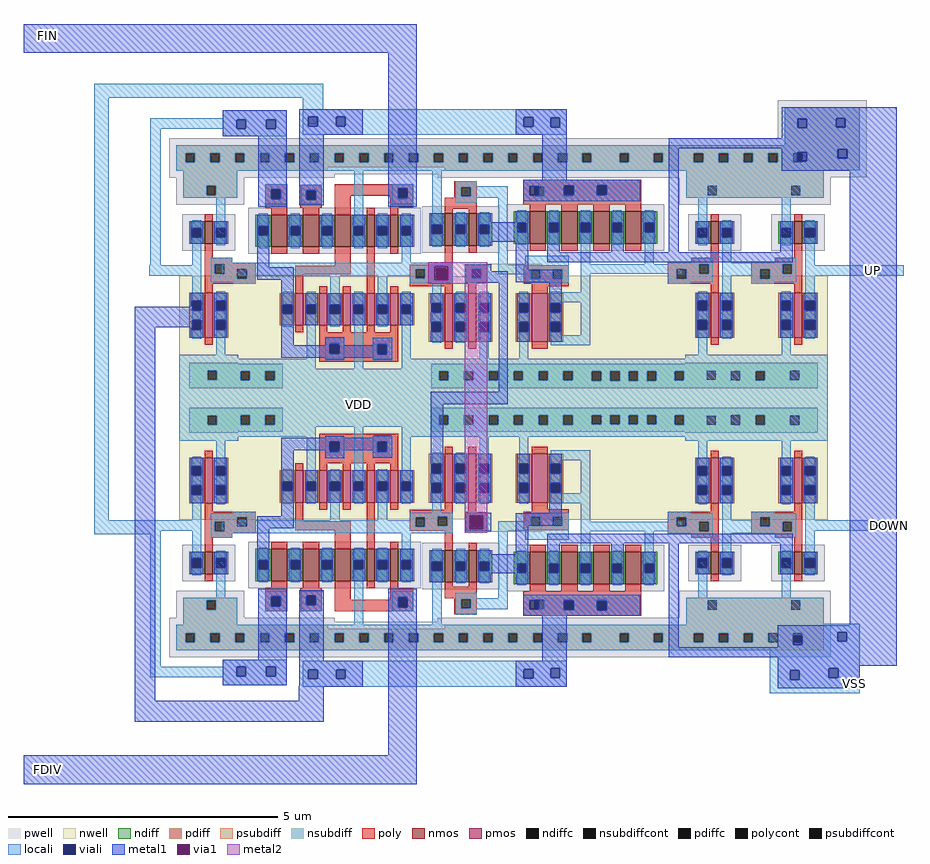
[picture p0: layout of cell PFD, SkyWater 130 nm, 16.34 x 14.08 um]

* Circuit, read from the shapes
.subckt PFD DOWN FDIV FIN UP VDD VSS
XM1 VSS PFD_UP_0/PFD_INV_0/IN PFD_UP_0/PFD_INV_0/OUT VSS sky130_fd_pr__nfet_01v8 w=0.42 l=0.15
XM2 VSS PFD_UP_1/PFD_INV_0/IN PFD_UP_1/PFD_INV_0/OUT VSS sky130_fd_pr__nfet_01v8 w=0.42 l=0.15
XM3 n1 PFD_UP_0/PFD_INV_0/OUT n2 VSS sky130_fd_pr__nfet_01v8 w=0.6 l=0.3
XM4 n3 PFD_UP_1/PFD_INV_0/OUT n4 VSS sky130_fd_pr__nfet_01v8 w=0.6 l=0.3
XM5 n5 PFD_UP_1/PFD_INV_0/OUT n1 VSS sky130_fd_pr__nfet_01v8 w=0.6 l=0.3
XM6 n6 PFD_UP_0/PFD_INV_0/OUT n3 VSS sky130_fd_pr__nfet_01v8 w=0.6 l=0.3
XM7 VSS FDIV n5 VSS sky130_fd_pr__nfet_01v8 w=0.6 l=0.3
XM8 VSS FIN n6 VSS sky130_fd_pr__nfet_01v8 w=0.6 l=0.3
XM9 n7 n2 VSS VSS sky130_fd_pr__nfet_01v8 w=0.6 l=0.15
XM10 n8 n4 VSS VSS sky130_fd_pr__nfet_01v8 w=0.6 l=0.15
XM11 PFD_UP_0/PFD_INV_0/IN FDIV n7 VSS sky130_fd_pr__nfet_01v8 w=0.6 l=0.15
XM12 PFD_UP_1/PFD_INV_0/IN FIN n8 VSS sky130_fd_pr__nfet_01v8 w=0.6 l=0.15
XM13 n9 PFD_UP_0/PFD_INV_0/IN VSS VSS sky130_fd_pr__nfet_01v8 w=0.6 l=0.15
XM14 n10 PFD_UP_1/PFD_INV_0/IN VSS VSS sky130_fd_pr__nfet_01v8 w=0.6 l=0.15
XM15 PFD_UP_0/PFD_INV_2/IN PFD_UP_0/PFD_INV_0/IN n9 VSS sky130_fd_pr__nfet_01v8 w=0.6 l=0.15
XM16 PFD_UP_1/PFD_INV_2/IN PFD_UP_1/PFD_INV_0/IN n10 VSS sky130_fd_pr__nfet_01v8 w=0.6 l=0.15
XM17 VSS PFD_UP_1/PFD_INV_0/OUT PFD_UP_0/PFD_INV_2/IN VSS sky130_fd_pr__nfet_01v8 w=0.6 l=0.3 m=4
XM18 VSS PFD_UP_0/PFD_INV_0/OUT PFD_UP_1/PFD_INV_2/IN VSS sky130_fd_pr__nfet_01v8 w=0.6 l=0.3 m=4
XM19 PFD_UP_0/PFD_INV_1/IN PFD_UP_0/PFD_INV_2/IN VSS VSS sky130_fd_pr__nfet_01v8 w=0.42 l=0.15
XM20 PFD_UP_1/PFD_INV_1/IN PFD_UP_1/PFD_INV_2/IN VSS VSS sky130_fd_pr__nfet_01v8 w=0.42 l=0.15
XM21 DOWN PFD_UP_0/PFD_INV_1/IN VSS VSS sky130_fd_pr__nfet_01v8 w=0.42 l=0.15
XM22 UP PFD_UP_1/PFD_INV_1/IN VSS VSS sky130_fd_pr__nfet_01v8 w=0.42 l=0.15
XM23 VDD PFD_UP_0/PFD_INV_0/IN PFD_UP_0/PFD_INV_0/OUT VDD sky130_fd_pr__pfet_01v8 w=0.84 l=0.15
XM24 VDD PFD_UP_1/PFD_INV_0/IN PFD_UP_1/PFD_INV_0/OUT VDD sky130_fd_pr__pfet_01v8 w=0.84 l=0.15
XM25 VDD FDIV n2 VDD sky130_fd_pr__pfet_01v8 w=0.6 l=0.15
XM26 VDD FIN n4 VDD sky130_fd_pr__pfet_01v8 w=0.6 l=0.15
XM27 PFD_UP_0/PFD_INV_0/IN n2 VDD VDD sky130_fd_pr__pfet_01v8 w=0.6 l=0.15 m=4
XM28 PFD_UP_1/PFD_INV_0/IN n4 VDD VDD sky130_fd_pr__pfet_01v8 w=0.6 l=0.15 m=4
XM29 n11 PFD_UP_0/PFD_INV_0/IN PFD_UP_0/PFD_INV_0/IN VDD sky130_fd_pr__pfet_01v8 w=0.9 l=0.15
XM30 n12 PFD_UP_1/PFD_INV_0/IN PFD_UP_1/PFD_INV_0/IN VDD sky130_fd_pr__pfet_01v8 w=0.9 l=0.15
XM31 VDD PFD_UP_1/PFD_INV_0/IN n11 VDD sky130_fd_pr__pfet_01v8 w=0.9 l=0.15
XM32 VDD PFD_UP_0/PFD_INV_0/IN n12 VDD sky130_fd_pr__pfet_01v8 w=0.9 l=0.15
XM33 PFD_UP_0/PFD_INV_2/IN PFD_UP_0/PFD_INV_0/IN VDD VDD sky130_fd_pr__pfet_01v8 w=0.9 l=0.3
XM34 PFD_UP_1/PFD_INV_2/IN PFD_UP_1/PFD_INV_0/IN VDD VDD sky130_fd_pr__pfet_01v8 w=0.9 l=0.3
XM35 PFD_UP_0/PFD_INV_1/IN PFD_UP_0/PFD_INV_2/IN VDD VDD sky130_fd_pr__pfet_01v8 w=0.84 l=0.15
XM36 PFD_UP_1/PFD_INV_1/IN PFD_UP_1/PFD_INV_2/IN VDD VDD sky130_fd_pr__pfet_01v8 w=0.84 l=0.15
XM37 DOWN PFD_UP_0/PFD_INV_1/IN VDD VDD sky130_fd_pr__pfet_01v8 w=0.84 l=0.15
XM38 UP PFD_UP_1/PFD_INV_1/IN VDD VDD sky130_fd_pr__pfet_01v8 w=0.84 l=0.15
.ends

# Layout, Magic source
magic
tech sky130A
magscale 1 2
<< nwell >>
rect 1193 1383 1220 1391
<< pwell >>
rect 2254 1774 2585 2060
<< psubdiff >>
rect 2280 1800 2559 2034
<< locali >>
rect -278 2068 571 2121
rect -278 504 -225 2068
rect 494 2027 571 2068
rect 507 1971 546 2027
rect 2280 1993 2559 2034
rect 2280 1991 2471 1993
rect 2280 1957 2328 1991
rect 2362 1959 2471 1991
rect 2505 1959 2559 1993
rect 2362 1957 2559 1959
rect 2280 1878 2559 1957
rect 2280 1867 2477 1878
rect 2280 1833 2327 1867
rect 2361 1844 2477 1867
rect 2511 1844 2559 1878
rect 2361 1833 2559 1844
rect 2280 1800 2559 1833
rect 978 1436 1038 1449
rect 978 1402 991 1436
rect 1025 1402 1038 1436
rect 2463 1410 2721 1449
rect 978 1390 1038 1402
rect 407 849 895 1065
rect -278 465 6 504
rect 2476 465 2730 504
rect -278 451 -54 465
rect 2245 119 2415 121
rect 2224 89 2559 119
rect 2224 76 2476 89
rect 2224 42 2311 76
rect 2345 55 2476 76
rect 2510 55 2559 89
rect 2345 42 2559 55
rect 2224 -46 2559 42
rect 2224 -53 2444 -46
rect 2224 -87 2300 -53
rect 2334 -80 2444 -53
rect 2478 -80 2559 -46
rect 2334 -87 2559 -80
rect 2224 -138 2559 -87
<< viali >>
rect 2328 1957 2362 1991
rect 2471 1959 2505 1993
rect 2327 1833 2361 1867
rect 2477 1844 2511 1878
rect 991 1402 1025 1436
rect 2311 42 2345 76
rect 2476 55 2510 89
rect 2300 -87 2334 -53
rect 2444 -80 2478 -46
<< metal1 >>
rect -539 2236 917 2342
rect 811 1961 917 2236
rect 2269 1993 2695 2034
rect 2269 1991 2471 1993
rect 2269 1957 2328 1991
rect 2362 1959 2471 1991
rect 2505 1959 2695 1993
rect 2362 1957 2695 1959
rect 2269 1878 2695 1957
rect 2269 1867 2477 1878
rect 2269 1833 2327 1867
rect 2361 1844 2477 1867
rect 2511 1844 2695 1878
rect 2361 1833 2695 1844
rect 2269 1798 2695 1833
rect 959 1445 1050 1459
rect 959 1393 982 1445
rect 1034 1393 1050 1445
rect 959 1380 1050 1393
rect 1159 1391 1254 1425
rect 1193 1383 1254 1391
rect -129 1218 89 1295
rect -129 -166 -52 1218
rect 1220 979 1254 1383
rect 968 933 1254 979
rect 968 738 1014 933
rect 1098 522 1178 526
rect 1098 470 1112 522
rect 1164 470 1178 522
rect 1098 467 1178 470
rect 2521 115 2695 1798
rect 2254 89 2695 115
rect 2254 76 2476 89
rect 480 -166 572 -112
rect -129 -243 572 -166
rect 811 -368 917 44
rect 2254 42 2311 76
rect 2345 55 2476 76
rect 2510 55 2695 89
rect 2345 42 2695 55
rect 2254 -35 2695 42
rect 2254 -46 2559 -35
rect 2254 -53 2444 -46
rect 2254 -87 2300 -53
rect 2334 -80 2444 -53
rect 2478 -80 2559 -46
rect 2334 -87 2559 -80
rect 2254 -119 2559 -87
rect -539 -474 917 -368
<< via1 >>
rect 982 1436 1034 1445
rect 982 1402 991 1436
rect 991 1402 1025 1436
rect 1025 1402 1034 1436
rect 982 1393 1034 1402
rect 1112 470 1164 522
<< metal2 >>
rect 959 1445 1178 1459
rect 959 1393 982 1445
rect 1034 1393 1178 1445
rect 959 1380 1178 1393
rect 1095 522 1178 1380
rect 1095 470 1112 522
rect 1164 470 1178 522
rect 1095 457 1178 470
use PFD_UP  PFD_UP_0
transform 1 0 373 0 1 457
box -479 -610 2335 500
use PFD_UP  PFD_UP_1
transform 1 0 373 0 -1 1457
box -479 -610 2335 500
<< labels >>
flabel metal1 s -450 2298 -450 2298 0 FreeSans 800 0 0 0 FIN
flabel metal1 s -450 -421 -450 -421 0 FreeSans 800 0 0 0 FDIV
flabel locali s 2605 1430 2605 1430 0 FreeSans 800 0 0 0 UP
flabel locali s 2668 482 2668 482 0 FreeSans 800 0 0 0 DOWN
flabel metal1 s 2539 -101 2539 -101 0 FreeSans 800 0 0 0 VSS
flabel locali s 702 931 702 931 0 FreeSans 800 0 0 0 VDD
<< end >>

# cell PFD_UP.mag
magic
tech sky130A
magscale 1 2
<< nwell >>
rect -336 464 1539 500
rect 1757 464 1848 500
rect -336 371 1712 464
rect -336 369 1576 371
rect 1720 370 1886 464
rect -336 294 1539 369
rect -336 83 0 294
rect 136 236 170 294
rect 182 291 477 294
rect 204 276 476 291
rect 211 269 476 276
rect 212 258 476 269
rect 312 236 346 258
rect 488 221 554 294
rect 488 220 522 221
rect -336 48 -231 83
rect -119 48 0 83
rect 595 81 657 86
rect 859 80 880 294
rect 1041 269 1539 294
rect 1107 146 1539 269
rect 1041 109 1101 146
rect 1106 109 1539 146
rect 969 86 1029 87
rect 765 79 888 80
rect 946 79 1029 86
rect 765 76 1029 79
rect 804 75 1029 76
rect 804 74 1008 75
rect 1025 74 1029 75
rect 1101 74 1106 87
rect 741 59 789 68
rect 804 62 1029 74
rect 1107 67 1539 109
rect 1107 62 1655 67
rect 804 48 1655 62
rect 1757 48 1848 370
rect 804 4 1008 48
<< pwell >>
rect -348 -315 -95 -294
rect 1516 -315 2078 -215
rect -374 -329 240 -315
rect 622 -329 2078 -315
rect -374 -462 2078 -329
<< psubdiff >>
rect -322 -341 -121 -320
rect 1542 -341 2052 -241
rect -348 -355 214 -341
rect 648 -355 2052 -341
rect -348 -372 2052 -355
rect -348 -406 -313 -372
rect -279 -406 -221 -372
rect -187 -406 -129 -372
rect -95 -406 -37 -372
rect -3 -406 55 -372
rect 89 -406 147 -372
rect 181 -406 239 -372
rect 273 -406 331 -372
rect 365 -406 423 -372
rect 457 -406 515 -372
rect 549 -406 607 -372
rect 641 -406 699 -372
rect 733 -406 791 -372
rect 825 -406 883 -372
rect 917 -406 975 -372
rect 1009 -406 1067 -372
rect 1101 -406 1157 -372
rect 1191 -406 1295 -372
rect 1329 -406 1422 -372
rect 1456 -406 1571 -372
rect 1605 -406 1663 -372
rect 1697 -406 1755 -372
rect 1789 -406 1847 -372
rect 1881 -406 1939 -372
rect 1973 -406 2052 -372
rect -348 -436 2052 -406
<< nsubdiff >>
rect -155 435 47 464
rect -155 401 -109 435
rect -75 401 -17 435
rect 17 401 47 435
rect -155 374 47 401
rect 597 441 1712 464
rect 1720 441 1886 464
rect 597 436 1886 441
rect 597 435 1193 436
rect 597 401 627 435
rect 661 401 719 435
rect 753 401 811 435
rect 845 401 903 435
rect 937 401 995 435
rect 1029 401 1087 435
rect 1121 402 1193 435
rect 1227 402 1261 436
rect 1295 402 1329 436
rect 1363 402 1397 436
rect 1431 435 1886 436
rect 1431 402 1499 435
rect 1121 401 1499 402
rect 1533 401 1707 435
rect 1741 401 1799 435
rect 1833 401 1886 435
rect 597 395 1886 401
rect 597 374 1712 395
rect -155 370 -119 374
rect 1539 371 1712 374
rect 1539 370 1576 371
rect 1720 370 1886 395
<< psubdiffcont >>
rect -313 -406 -279 -372
rect -221 -406 -187 -372
rect -129 -406 -95 -372
rect -37 -406 -3 -372
rect 55 -406 89 -372
rect 147 -406 181 -372
rect 239 -406 273 -372
rect 331 -406 365 -372
rect 423 -406 457 -372
rect 515 -406 549 -372
rect 607 -406 641 -372
rect 699 -406 733 -372
rect 791 -406 825 -372
rect 883 -406 917 -372
rect 975 -406 1009 -372
rect 1067 -406 1101 -372
rect 1157 -406 1191 -372
rect 1295 -406 1329 -372
rect 1422 -406 1456 -372
rect 1571 -406 1605 -372
rect 1663 -406 1697 -372
rect 1755 -406 1789 -372
rect 1847 -406 1881 -372
rect 1939 -406 1973 -372
<< nsubdiffcont >>
rect -109 401 -75 435
rect -17 401 17 435
rect 627 401 661 435
rect 719 401 753 435
rect 811 401 845 435
rect 903 401 937 435
rect 995 401 1029 435
rect 1087 401 1121 435
rect 1193 402 1227 436
rect 1261 402 1295 436
rect 1329 402 1363 436
rect 1397 402 1431 436
rect 1499 401 1533 435
rect 1707 401 1741 435
rect 1799 401 1833 435
<< poly >>
rect 182 333 476 367
rect 182 332 398 333
rect 182 298 221 332
rect 255 299 398 332
rect 432 299 476 333
rect 255 298 476 299
rect 182 258 476 298
rect 182 257 212 258
rect 657 86 677 96
rect 94 43 124 86
rect 94 10 300 43
rect 240 -33 300 10
rect 358 -33 388 86
rect 518 59 678 86
rect 735 78 765 87
rect 518 57 622 59
rect 518 23 540 57
rect 574 25 622 57
rect 656 25 678 59
rect 574 23 678 25
rect 518 7 678 23
rect 648 -39 678 7
rect 722 76 765 78
rect 969 77 1106 87
rect 722 56 804 76
rect 722 22 748 56
rect 782 22 804 56
rect 722 6 804 22
rect 941 59 1106 77
rect 941 25 968 59
rect 1002 25 1048 59
rect 1082 25 1106 59
rect 941 9 1106 25
rect -18 -235 64 -203
rect 446 -205 476 -204
rect -18 -269 5 -235
rect 39 -269 64 -235
rect -18 -291 64 -269
rect 112 -235 191 -205
rect 112 -269 135 -235
rect 169 -269 191 -235
rect 112 -290 191 -269
rect 240 -249 300 -205
rect 446 -238 531 -205
rect 446 -249 475 -238
rect 240 -272 475 -249
rect 509 -272 531 -238
rect 648 -242 766 -200
rect 240 -291 531 -272
rect 683 -246 766 -242
rect 683 -280 709 -246
rect 743 -280 766 -246
rect 683 -302 766 -280
rect 938 -248 1376 -217
rect 938 -282 981 -248
rect 1015 -249 1376 -248
rect 1015 -282 1088 -249
rect 938 -283 1088 -282
rect 1122 -250 1376 -249
rect 1122 -283 1210 -250
rect 938 -284 1210 -283
rect 1244 -284 1376 -250
rect 938 -307 1376 -284
<< polycont >>
rect 221 298 255 332
rect 398 299 432 333
rect 540 23 574 57
rect 622 25 656 59
rect 748 22 782 56
rect 968 25 1002 59
rect 1048 25 1082 59
rect 5 -269 39 -235
rect 135 -269 169 -235
rect 475 -272 509 -238
rect 709 -280 743 -246
rect 981 -282 1015 -248
rect 1088 -283 1122 -249
rect 1210 -284 1244 -250
<< locali >>
rect -118 488 1539 500
rect 1757 488 1848 500
rect -118 464 2047 488
rect -155 436 2047 464
rect -155 435 1193 436
rect -155 401 -109 435
rect -75 401 -17 435
rect 17 401 627 435
rect 661 401 719 435
rect 753 401 811 435
rect 845 401 903 435
rect 937 401 995 435
rect 1029 401 1087 435
rect 1121 402 1193 435
rect 1227 402 1261 436
rect 1295 402 1329 436
rect 1363 402 1397 436
rect 1431 435 2047 436
rect 1431 402 1499 435
rect 1121 401 1499 402
rect 1533 401 1707 435
rect 1741 401 1799 435
rect 1833 401 2047 435
rect -155 392 2047 401
rect -155 370 170 392
rect -118 355 170 370
rect 136 236 170 355
rect 204 337 276 357
rect 204 332 222 337
rect 204 298 221 332
rect 256 303 276 337
rect 255 298 276 303
rect 204 276 276 298
rect 312 236 346 392
rect 381 338 453 358
rect 381 333 399 338
rect 381 299 398 333
rect 433 304 453 338
rect 432 299 453 304
rect 381 277 453 299
rect 488 355 2047 392
rect 488 221 522 355
rect 777 296 811 355
rect 923 296 957 355
rect 1757 340 1848 355
rect 1041 269 1186 306
rect 1152 146 1186 269
rect 224 47 258 109
rect 400 47 434 110
rect 601 74 635 120
rect 1041 109 1186 146
rect 518 59 678 74
rect 518 57 622 59
rect 518 47 540 57
rect -448 8 -334 47
rect -177 23 540 47
rect 574 25 622 57
rect 656 25 678 59
rect 574 23 678 25
rect -444 -497 -405 8
rect -177 -1 678 23
rect 722 57 804 74
rect 722 22 748 57
rect 782 22 804 57
rect 945 59 1106 74
rect 945 42 968 59
rect 722 8 804 22
rect 846 25 968 42
rect 1002 25 1048 59
rect 1082 25 1106 59
rect 846 7 1106 25
rect 488 -56 522 -1
rect -18 -235 62 -217
rect -18 -238 5 -235
rect -18 -272 4 -238
rect 39 -269 62 -235
rect 38 -272 62 -269
rect -18 -291 62 -272
rect 113 -233 191 -217
rect 113 -235 136 -233
rect 113 -269 135 -235
rect 170 -267 191 -233
rect 169 -269 191 -267
rect 113 -290 191 -269
rect -322 -341 -121 -320
rect 312 -341 346 -183
rect 453 -238 531 -217
rect 453 -276 475 -238
rect 509 -276 531 -238
rect 453 -291 531 -276
rect 602 -341 636 -183
rect 687 -242 766 -223
rect 846 -242 881 7
rect 945 -26 1106 7
rect 1152 40 1186 109
rect 1152 6 1525 40
rect 2080 8 2335 47
rect 1152 -67 1186 6
rect 1388 -67 1422 6
rect 1708 -1 1810 8
rect 687 -246 881 -242
rect 687 -280 709 -246
rect 743 -280 881 -246
rect 687 -284 881 -280
rect 939 -248 1372 -229
rect 1587 -241 1621 -152
rect 1896 -241 1930 -160
rect 939 -250 981 -248
rect 1015 -249 1372 -248
rect 939 -284 962 -250
rect 1015 -282 1088 -249
rect 1122 -250 1372 -249
rect 1122 -252 1210 -250
rect 996 -283 1088 -282
rect 996 -284 1091 -283
rect 687 -303 766 -284
rect 939 -286 1091 -284
rect 1125 -284 1210 -252
rect 1244 -253 1372 -250
rect 1125 -286 1213 -284
rect 939 -287 1213 -286
rect 1247 -287 1372 -253
rect 939 -307 1372 -287
rect 1542 -341 2052 -241
rect -348 -372 2052 -341
rect -348 -406 -313 -372
rect -279 -406 -221 -372
rect -187 -406 -129 -372
rect -95 -406 -37 -372
rect -3 -406 55 -372
rect 89 -406 147 -372
rect 181 -406 239 -372
rect 273 -406 331 -372
rect 365 -406 423 -372
rect 457 -406 515 -372
rect 549 -406 607 -372
rect 641 -406 699 -372
rect 733 -406 791 -372
rect 825 -406 883 -372
rect 917 -406 975 -372
rect 1009 -406 1067 -372
rect 1101 -406 1157 -372
rect 1191 -406 1295 -372
rect 1329 -406 1422 -372
rect 1456 -406 1571 -372
rect 1605 -406 1663 -372
rect 1697 -406 1755 -372
rect 1789 -406 1847 -372
rect 1881 -406 1939 -372
rect 1973 -406 2052 -372
rect -348 -436 2052 -406
rect -175 -497 62 -470
rect -444 -531 -124 -497
rect -90 -531 -13 -497
rect 21 -531 62 -497
rect -444 -536 62 -531
rect -175 -566 62 -536
rect 121 -503 1099 -474
rect 121 -505 1040 -503
rect 121 -507 941 -505
rect 121 -541 142 -507
rect 176 -541 245 -507
rect 279 -539 941 -507
rect 975 -537 1040 -505
rect 1074 -537 1099 -503
rect 975 -539 1099 -537
rect 279 -541 1099 -539
rect 121 -570 1099 -541
<< viali >>
rect 222 332 256 337
rect 222 303 255 332
rect 255 303 256 332
rect 399 333 433 338
rect 399 304 432 333
rect 432 304 433 333
rect 748 56 782 57
rect 748 23 782 56
rect 4 -269 5 -238
rect 5 -269 38 -238
rect 4 -272 38 -269
rect 136 -235 170 -233
rect 136 -267 169 -235
rect 169 -267 170 -235
rect 475 -272 509 -242
rect 475 -276 509 -272
rect 962 -282 981 -250
rect 981 -282 996 -250
rect 962 -284 996 -282
rect 1091 -283 1122 -252
rect 1122 -283 1125 -252
rect 1091 -286 1125 -283
rect 1213 -284 1244 -253
rect 1244 -284 1247 -253
rect 1213 -287 1247 -284
rect -124 -531 -90 -497
rect -13 -531 21 -497
rect 142 -541 176 -507
rect 245 -541 279 -507
rect 941 -539 975 -505
rect 1040 -537 1074 -503
<< metal1 >>
rect 207 357 273 360
rect 384 358 450 361
rect 204 352 276 357
rect 381 352 453 358
rect 42 338 453 352
rect 42 337 399 338
rect 42 306 222 337
rect 42 231 88 306
rect 204 303 222 306
rect 256 306 399 337
rect 256 303 276 306
rect 204 276 276 303
rect 381 304 399 306
rect 433 304 453 338
rect 381 277 453 304
rect 42 62 88 113
rect -48 16 88 62
rect 725 57 820 74
rect 1035 72 1081 113
rect 725 23 748 57
rect 782 23 820 57
rect -48 -67 -2 16
rect 725 6 820 23
rect 910 26 1081 72
rect 910 -71 956 26
rect 1028 -39 1936 -3
rect 1028 -72 1074 -39
rect 1264 -71 1310 -39
rect 805 -103 919 -79
rect 805 -150 924 -103
rect -43 -238 62 -208
rect -43 -272 4 -238
rect 38 -272 62 -238
rect -43 -470 62 -272
rect -175 -497 62 -470
rect -175 -531 -124 -497
rect -90 -531 -13 -497
rect 21 -531 62 -497
rect -175 -566 62 -531
rect 108 -233 199 -214
rect 108 -267 136 -233
rect 170 -267 199 -233
rect 108 -474 199 -267
rect 438 -242 544 -208
rect 438 -276 475 -242
rect 509 -276 544 -242
rect 108 -507 344 -474
rect 108 -541 142 -507
rect 176 -541 245 -507
rect 279 -541 344 -507
rect 108 -570 344 -541
rect 438 -610 544 -276
rect 939 -250 1372 -229
rect 939 -284 962 -250
rect 996 -252 1372 -250
rect 996 -284 1091 -252
rect 939 -286 1091 -284
rect 1125 -253 1372 -252
rect 1125 -286 1213 -253
rect 939 -287 1213 -286
rect 1247 -287 1372 -253
rect 939 -307 1372 -287
rect 1008 -474 1099 -307
rect 1478 -425 1514 -39
rect 1890 -70 1936 -39
rect 1478 -461 1929 -425
rect 910 -503 1099 -474
rect 910 -505 1040 -503
rect 910 -539 941 -505
rect 975 -537 1040 -505
rect 1074 -537 1099 -503
rect 975 -539 1099 -537
rect 910 -570 1099 -539
use PFD_INV  PFD_INV_0
transform -1 0 -118 0 1 48
box -65 -394 271 452
use PFD_INV  PFD_INV_1
transform 1 0 1848 0 1 48
box -65 -394 271 452
use PFD_INV  PFD_INV_2
transform 1 0 1539 0 1 48
box -65 -394 271 452
use sky130_fd_pr__nfet_01v8_FB3UY2  sky130_fd_pr__nfet_01v8_FB3UY2_0
transform 1 0 461 0 1 -119
box -99 -86 99 86
use sky130_fd_pr__nfet_01v8_FB3UY2  sky130_fd_pr__nfet_01v8_FB3UY2_1
transform 1 0 373 0 1 -119
box -99 -86 99 86
use sky130_fd_pr__nfet_01v8_FB3UY2  sky130_fd_pr__nfet_01v8_FB3UY2_2
transform 1 0 751 0 1 -124
box -99 -86 99 86
use sky130_fd_pr__nfet_01v8_FB3UY2  sky130_fd_pr__nfet_01v8_FB3UY2_3
transform 1 0 663 0 1 -124
box -99 -86 99 86
use sky130_fd_pr__nfet_01v8_R2UA5N  sky130_fd_pr__nfet_01v8_R2UA5N_0
transform 1 0 270 0 1 -119
box -114 -86 114 86
use sky130_fd_pr__nfet_01v8_R2UA5N  sky130_fd_pr__nfet_01v8_R2UA5N_1
transform 1 0 34 0 1 -119
box -114 -86 114 86
use sky130_fd_pr__nfet_01v8_R2UA5N  sky130_fd_pr__nfet_01v8_R2UA5N_2
transform 1 0 152 0 1 -119
box -114 -86 114 86
use sky130_fd_pr__nfet_01v8_R2UA5N  sky130_fd_pr__nfet_01v8_R2UA5N_3
transform 1 0 1110 0 1 -131
box -114 -86 114 86
use sky130_fd_pr__nfet_01v8_R2UA5N  sky130_fd_pr__nfet_01v8_R2UA5N_4
transform 1 0 992 0 1 -131
box -114 -86 114 86
use sky130_fd_pr__nfet_01v8_R2UA5N  sky130_fd_pr__nfet_01v8_R2UA5N_5
transform 1 0 1228 0 1 -131
box -114 -86 114 86
use sky130_fd_pr__nfet_01v8_R2UA5N  sky130_fd_pr__nfet_01v8_R2UA5N_6
transform 1 0 1346 0 1 -131
box -114 -86 114 86
use sky130_fd_pr__pfet_01v8_5AY9XA  sky130_fd_pr__pfet_01v8_5AY9XA_1
transform 1 0 662 0 1 202
box -109 -152 109 152
use sky130_fd_pr__pfet_01v8_5AY9XA  sky130_fd_pr__pfet_01v8_5AY9XA_2
transform 1 0 750 0 1 202
box -109 -152 109 152
use sky130_fd_pr__pfet_01v8_58P8XA  sky130_fd_pr__pfet_01v8_58P8XA_1
transform 1 0 109 0 1 172
box -109 -122 109 122
use sky130_fd_pr__pfet_01v8_58P8XA  sky130_fd_pr__pfet_01v8_58P8XA_2
transform 1 0 197 0 1 172
box -109 -122 109 122
use sky130_fd_pr__pfet_01v8_58P8XA  sky130_fd_pr__pfet_01v8_58P8XA_3
transform 1 0 285 0 1 172
box -109 -122 109 122
use sky130_fd_pr__pfet_01v8_58P8XA  sky130_fd_pr__pfet_01v8_58P8XA_4
transform 1 0 373 0 1 172
box -109 -122 109 122
use sky130_fd_pr__pfet_01v8_58P8XA  sky130_fd_pr__pfet_01v8_58P8XA_5
transform 1 0 461 0 1 172
box -109 -122 109 122
use sky130_fd_pr__pfet_01v8_EP25JC  sky130_fd_pr__pfet_01v8_EP25JC_0
transform 1 0 999 0 1 202
box -124 -152 124 152
<< end >>

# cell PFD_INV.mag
magic
tech sky130A
magscale 1 2
<< nwell >>
rect 0 292 218 452
<< pwell >>
rect -23 -394 230 -263
<< psubdiff >>
rect 3 -299 204 -289
rect 3 -333 83 -299
rect 117 -333 204 -299
rect 3 -368 204 -333
<< nsubdiff >>
rect 37 386 181 416
rect 37 352 79 386
rect 113 352 181 386
rect 37 322 181 352
<< psubdiffcont >>
rect 83 -333 117 -299
<< nsubdiffcont >>
rect 79 352 113 386
<< poly >>
rect 94 29 124 38
rect -65 10 124 29
rect -65 -24 -31 10
rect 3 -8 124 10
rect 3 -24 52 -8
rect -65 -42 52 -24
rect 86 -42 124 -8
rect -65 -49 124 -42
rect 22 -67 124 -49
rect 94 -92 124 -67
<< polycont >>
rect -31 -24 3 10
rect 52 -42 86 -8
<< locali >>
rect 0 386 218 452
rect 0 352 79 386
rect 113 352 218 386
rect 0 292 218 352
rect 48 234 82 292
rect -65 24 18 29
rect -65 10 102 24
rect -65 -24 -31 10
rect 3 -8 102 10
rect 3 -24 52 -8
rect -65 -42 52 -24
rect 86 -42 102 -8
rect -65 -49 102 -42
rect 22 -67 102 -49
rect 136 -1 170 58
rect 136 -40 271 -1
rect 136 -138 170 -40
rect 48 -289 82 -156
rect 3 -299 204 -289
rect 3 -333 83 -299
rect 117 -333 204 -299
rect 3 -368 204 -333
use sky130_fd_pr__nfet_01v8_A6LSUL  sky130_fd_pr__nfet_01v8_A6LSUL_0
transform 1 0 109 0 1 -160
box -99 -68 99 68
use sky130_fd_pr__pfet_01v8_54DJGB  sky130_fd_pr__pfet_01v8_54DJGB_0
transform 1 0 109 0 1 146
box -109 -146 109 146
<< labels >>
flabel locali s -31 -10 -31 -10 0 FreeSans 600 0 0 0 IN
flabel locali s 255 -14 255 -14 0 FreeSans 600 0 0 0 OUT
flabel locali s 96 369 96 369 0 FreeSans 600 0 0 0 VDD
flabel locali s 100 -315 100 -315 0 FreeSans 600 0 0 0 VSS
<< end >>

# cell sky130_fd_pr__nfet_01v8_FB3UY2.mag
magic
tech sky130A
magscale 1 2
<< pwell >>
rect -99 -86 99 86
<< nmos >>
rect -15 -60 15 60
<< ndiff >>
rect -73 17 -15 60
rect -73 -17 -61 17
rect -27 -17 -15 17
rect -73 -60 -15 -17
rect 15 17 73 60
rect 15 -17 27 17
rect 61 -17 73 17
rect 15 -60 73 -17
<< ndiffc >>
rect -61 -17 -27 17
rect 27 -17 61 17
<< poly >>
rect -15 60 15 86
rect -15 -86 15 -60
<< locali >>
rect -61 17 -27 64
rect -61 -64 -27 -17
rect 27 17 61 64
rect 27 -64 61 -17
<< viali >>
rect -61 -17 -27 17
rect 27 -17 61 17
<< metal1 >>
rect -67 17 -21 60
rect -67 -17 -61 17
rect -27 -17 -21 17
rect -67 -60 -21 -17
rect 21 17 67 60
rect 21 -17 27 17
rect 61 -17 67 17
rect 21 -60 67 -17
<< end >>

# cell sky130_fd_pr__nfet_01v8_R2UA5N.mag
magic
tech sky130A
magscale 1 2
<< pwell >>
rect -114 -86 114 86
<< nmos >>
rect -30 -60 30 60
<< ndiff >>
rect -88 17 -30 60
rect -88 -17 -76 17
rect -42 -17 -30 17
rect -88 -60 -30 -17
rect 30 17 88 60
rect 30 -17 42 17
rect 76 -17 88 17
rect 30 -60 88 -17
<< ndiffc >>
rect -76 -17 -42 17
rect 42 -17 76 17
<< poly >>
rect -30 60 30 86
rect -30 -86 30 -60
<< locali >>
rect -76 17 -42 64
rect -76 -64 -42 -17
rect 42 17 76 64
rect 42 -64 76 -17
<< viali >>
rect -76 -17 -42 17
rect 42 -17 76 17
<< metal1 >>
rect -82 17 -36 60
rect -82 -17 -76 17
rect -42 -17 -36 17
rect -82 -60 -36 -17
rect 36 17 82 60
rect 36 -17 42 17
rect 76 -17 82 17
rect 36 -60 82 -17
<< end >>

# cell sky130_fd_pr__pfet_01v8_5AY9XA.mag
magic
tech sky130A
magscale 1 2
<< nwell >>
rect -109 -152 109 152
<< pmos >>
rect -15 -90 15 90
<< pdiff >>
rect -73 51 -15 90
rect -73 17 -61 51
rect -27 17 -15 51
rect -73 -17 -15 17
rect -73 -51 -61 -17
rect -27 -51 -15 -17
rect -73 -90 -15 -51
rect 15 51 73 90
rect 15 17 27 51
rect 61 17 73 51
rect 15 -17 73 17
rect 15 -51 27 -17
rect 61 -51 73 -17
rect 15 -90 73 -51
<< pdiffc >>
rect -61 17 -27 51
rect -61 -51 -27 -17
rect 27 17 61 51
rect 27 -51 61 -17
<< poly >>
rect -15 90 15 116
rect -15 -116 15 -90
<< locali >>
rect -61 53 -27 94
rect -61 -17 -27 17
rect -61 -94 -27 -53
rect 27 53 61 94
rect 27 -17 61 17
rect 27 -94 61 -53
<< viali >>
rect -61 51 -27 53
rect -61 19 -27 51
rect -61 -51 -27 -19
rect -61 -53 -27 -51
rect 27 51 61 53
rect 27 19 61 51
rect 27 -51 61 -19
rect 27 -53 61 -51
<< metal1 >>
rect -67 53 -21 90
rect -67 19 -61 53
rect -27 19 -21 53
rect -67 -19 -21 19
rect -67 -53 -61 -19
rect -27 -53 -21 -19
rect -67 -90 -21 -53
rect 21 53 67 90
rect 21 19 27 53
rect 61 19 67 53
rect 21 -19 67 19
rect 21 -53 27 -19
rect 61 -53 67 -19
rect 21 -90 67 -53
<< end >>

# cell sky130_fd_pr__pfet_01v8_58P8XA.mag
magic
tech sky130A
magscale 1 2
<< nwell >>
rect -109 -122 109 122
<< pmos >>
rect -15 -60 15 60
<< pdiff >>
rect -73 17 -15 60
rect -73 -17 -61 17
rect -27 -17 -15 17
rect -73 -60 -15 -17
rect 15 17 73 60
rect 15 -17 27 17
rect 61 -17 73 17
rect 15 -60 73 -17
<< pdiffc >>
rect -61 -17 -27 17
rect 27 -17 61 17
<< poly >>
rect -15 60 15 86
rect -15 -86 15 -60
<< locali >>
rect -61 17 -27 64
rect -61 -64 -27 -17
rect 27 17 61 64
rect 27 -64 61 -17
<< viali >>
rect -61 -17 -27 17
rect 27 -17 61 17
<< metal1 >>
rect -67 17 -21 60
rect -67 -17 -61 17
rect -27 -17 -21 17
rect -67 -60 -21 -17
rect 21 17 67 60
rect 21 -17 27 17
rect 61 -17 67 17
rect 21 -60 67 -17
<< end >>

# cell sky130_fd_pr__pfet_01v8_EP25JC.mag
magic
tech sky130A
magscale 1 2
<< nwell >>
rect -124 -152 124 152
<< pmos >>
rect -30 -90 30 90
<< pdiff >>
rect -88 51 -30 90
rect -88 17 -76 51
rect -42 17 -30 51
rect -88 -17 -30 17
rect -88 -51 -76 -17
rect -42 -51 -30 -17
rect -88 -90 -30 -51
rect 30 51 88 90
rect 30 17 42 51
rect 76 17 88 51
rect 30 -17 88 17
rect 30 -51 42 -17
rect 76 -51 88 -17
rect 30 -90 88 -51
<< pdiffc >>
rect -76 17 -42 51
rect -76 -51 -42 -17
rect 42 17 76 51
rect 42 -51 76 -17
<< poly >>
rect -30 90 30 116
rect -30 -116 30 -90
<< locali >>
rect -76 53 -42 94
rect -76 -17 -42 17
rect -76 -94 -42 -53
rect 42 53 76 94
rect 42 -17 76 17
rect 42 -94 76 -53
<< viali >>
rect -76 51 -42 53
rect -76 19 -42 51
rect -76 -51 -42 -19
rect -76 -53 -42 -51
rect 42 51 76 53
rect 42 19 76 51
rect 42 -51 76 -19
rect 42 -53 76 -51
<< metal1 >>
rect -82 53 -36 90
rect -82 19 -76 53
rect -42 19 -36 53
rect -82 -19 -36 19
rect -82 -53 -76 -19
rect -42 -53 -36 -19
rect -82 -90 -36 -53
rect 36 53 82 90
rect 36 19 42 53
rect 76 19 82 53
rect 36 -19 82 19
rect 36 -53 42 -19
rect 76 -53 82 -19
rect 36 -90 82 -53
<< end >>

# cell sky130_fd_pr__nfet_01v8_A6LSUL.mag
magic
tech sky130A
magscale 1 2
<< pwell >>
rect -99 -68 99 68
<< nmos >>
rect -15 -42 15 42
<< ndiff >>
rect -73 17 -15 42
rect -73 -17 -61 17
rect -27 -17 -15 17
rect -73 -42 -15 -17
rect 15 17 73 42
rect 15 -17 27 17
rect 61 -17 73 17
rect 15 -42 73 -17
<< ndiffc >>
rect -61 -17 -27 17
rect 27 -17 61 17
<< poly >>
rect -15 42 15 68
rect -15 -68 15 -42
<< locali >>
rect -61 17 -27 46
rect -61 -46 -27 -17
rect 27 17 61 46
rect 27 -46 61 -17
<< viali >>
rect -61 -17 -27 17
rect 27 -17 61 17
<< metal1 >>
rect -67 17 -21 42
rect -67 -17 -61 17
rect -27 -17 -21 17
rect -67 -42 -21 -17
rect 21 17 67 42
rect 21 -17 27 17
rect 61 -17 67 17
rect 21 -42 67 -17
<< end >>

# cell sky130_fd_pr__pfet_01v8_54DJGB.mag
magic
tech sky130A
magscale 1 2
<< nwell >>
rect -109 -146 109 146
<< pmos >>
rect -15 -84 15 84
<< pdiff >>
rect -73 51 -15 84
rect -73 17 -61 51
rect -27 17 -15 51
rect -73 -17 -15 17
rect -73 -51 -61 -17
rect -27 -51 -15 -17
rect -73 -84 -15 -51
rect 15 51 73 84
rect 15 17 27 51
rect 61 17 73 51
rect 15 -17 73 17
rect 15 -51 27 -17
rect 61 -51 73 -17
rect 15 -84 73 -51
<< pdiffc >>
rect -61 17 -27 51
rect -61 -51 -27 -17
rect 27 17 61 51
rect 27 -51 61 -17
<< poly >>
rect -15 84 15 110
rect -15 -110 15 -84
<< locali >>
rect -61 53 -27 88
rect -61 -17 -27 17
rect -61 -88 -27 -53
rect 27 53 61 88
rect 27 -17 61 17
rect 27 -88 61 -53
<< viali >>
rect -61 51 -27 53
rect -61 19 -27 51
rect -61 -51 -27 -19
rect -61 -53 -27 -51
rect 27 51 61 53
rect 27 19 61 51
rect 27 -51 61 -19
rect 27 -53 61 -51
<< metal1 >>
rect -67 53 -21 84
rect -67 19 -61 53
rect -27 19 -21 53
rect -67 -19 -21 19
rect -67 -53 -61 -19
rect -27 -53 -21 -19
rect -67 -84 -21 -53
rect 21 53 67 84
rect 21 19 27 53
rect 61 19 67 53
rect 21 -19 67 19
rect 21 -53 27 -19
rect 61 -53 67 -19
rect 21 -84 67 -53
<< end >>
